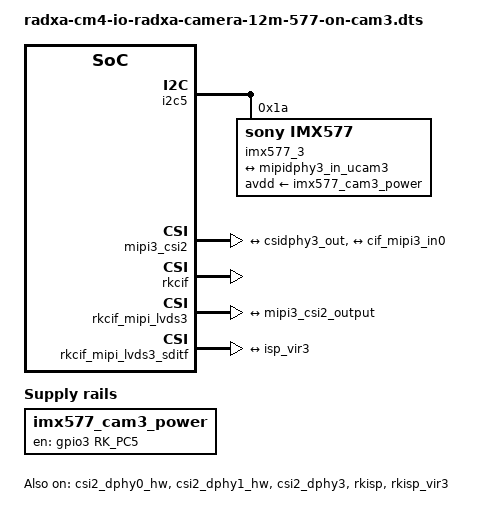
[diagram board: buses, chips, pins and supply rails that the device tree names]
/dts-v1/;
/plugin/;

#include <dt-bindings/power/rk3576-power.h>
#include <dt-bindings/gpio/gpio.h>
#include <dt-bindings/pinctrl/rockchip.h>

/ {
	metadata {
		title = "Enable Radxa Camera 12M 577 on CAM3 (31-pin)";
		compatible = "radxa,cm4-io";
		category = "camera";
		exclusive = "GPIO3_C5", "csi2_dphy3", "i2c5";
		description = "Enable Radxa Camera 12M 577 on CAM3 (31-pin)";
	};
};

&{/} {
	imx577_cam3_power: imx577-cam3-power {
		compatible = "regulator-fixed";
		regulator-name = "imx577_cam3_power";
		startup-delay-us = <250000>;
		off-on-delay-us = <20000>;
		enable-active-high;
		gpio = <&gpio3 RK_PC5 GPIO_ACTIVE_HIGH>;
		pinctrl-names = "default";
		pinctrl-0 = <&imx577_cam3_power_pin>;
	};
};

&i2c5 {
	status = "okay";
	pinctrl-names = "default";
	pinctrl-0 = <&i2c5m3_xfer>;
	#address-cells = <1>;
	#size-cells = <0>;

	imx577_3: imx577@1a {
		status = "okay";
		compatible = "sony,imx577";
		reg = <0x1a>;
		power-domains = <&power RK3576_PD_VI>;
		avdd-supply = <&imx577_cam3_power>;
		rockchip,camera-module-index = <2>;
		rockchip,camera-module-facing = "back";
		rockchip,camera-module-name = "RADXA-CAMERA-12M";
		rockchip,camera-module-lens-name = "default";

		port {
			imx577_out3: endpoint {
				remote-endpoint = <&mipidphy3_in_ucam3>;
				data-lanes = <1 2 3 4>;
			};
		};
	};
};

&csi2_dphy0_hw {
	status = "okay";
};

&csi2_dphy1_hw {
	status = "okay";
};

&csi2_dphy3 {
	status = "okay";

	ports {
		#address-cells = <1>;
		#size-cells = <0>;

		port@0 {
			reg = <0>;
			#address-cells = <1>;
			#size-cells = <0>;

			mipidphy3_in_ucam3: endpoint@1 {
				reg = <1>;
				remote-endpoint = <&imx577_out3>;
				data-lanes = <1 2 3 4>;
			};
		};

		port@1 {
			reg = <1>;
			#address-cells = <1>;
			#size-cells = <0>;

			csidphy3_out: endpoint@0 {
				reg = <0>;
				remote-endpoint = <&mipi3_csi2_input>;
			};
		};
	};
};

&mipi3_csi2 {
	status = "okay";

	ports {
		#address-cells = <1>;
		#size-cells = <0>;

		port@0 {
			reg = <0>;
			#address-cells = <1>;
			#size-cells = <0>;

			mipi3_csi2_input: endpoint@1 {
				reg = <1>;
				remote-endpoint = <&csidphy3_out>;
			};
		};

		port@1 {
			reg = <1>;
			#address-cells = <1>;
			#size-cells = <0>;

			mipi3_csi2_output: endpoint@0 {
				reg = <0>;
				remote-endpoint = <&cif_mipi3_in0>;
			};
		};
	};
};

&rkcif {
	status = "okay";
};

&rkcif_mmu {
	status = "okay";
};

&rkcif_mipi_lvds3 {
	status = "okay";

	port {
		cif_mipi3_in0: endpoint {
			remote-endpoint = <&mipi3_csi2_output>;
		};
	};
};

&rkcif_mipi_lvds3_sditf {
	status = "okay";

	port {
		mipi_lvds3_sditf: endpoint {
			remote-endpoint = <&isp_vir3>;
		};
	};
};

&rkisp {
	status = "okay";
};

&rkisp_mmu {
	status = "okay";
};

&rkisp_vir3 {
	status = "okay";

	port {
		#address-cells = <1>;
		#size-cells = <0>;

		isp_vir3: endpoint@0 {
			reg = <0>;
			remote-endpoint = <&mipi_lvds3_sditf>;
		};
	};
};

&pinctrl {
	camera {
		imx577_cam3_power_pin: imx577-cam3-power-pin {
			rockchip,pins = <3 RK_PC5 RK_FUNC_GPIO &pcfg_pull_up>;
		};
	};
};
